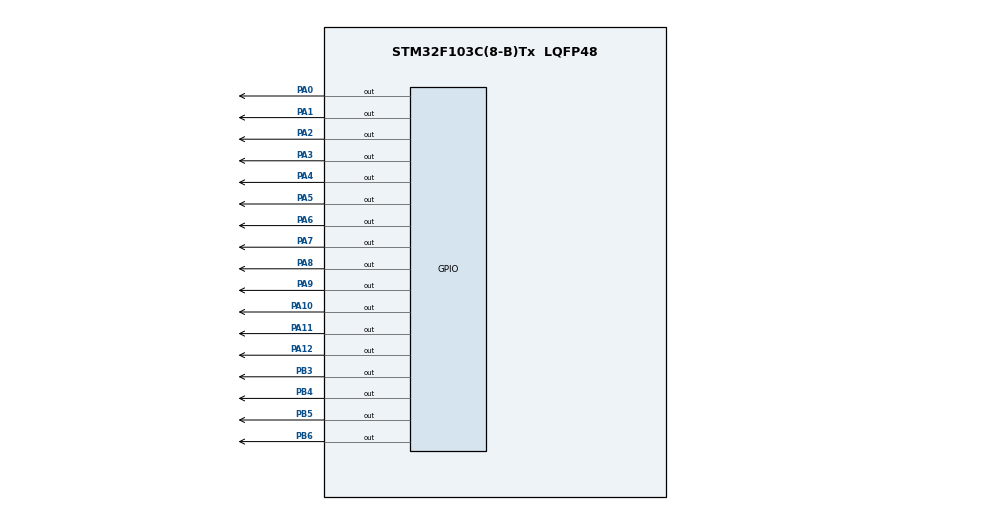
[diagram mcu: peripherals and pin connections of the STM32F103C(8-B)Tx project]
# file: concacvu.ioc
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Mcu.Family=STM32F1
Mcu.Name=STM32F103C(8-B)Tx
Mcu.Package=LQFP48
NVIC.PriorityGroup=NVIC_PRIORITYGROUP_4
PA0-WKUP.Signal=GPIO_Output
PA1.Signal=GPIO_Output
PA10.Signal=GPIO_Output
PA11.Signal=GPIO_Output
PA12.Signal=GPIO_Output
PA13.Mode=Serial_Wire
PA13.Signal=SYS_JTMS-SWDIO
PA14.Mode=Serial_Wire
PA14.Signal=SYS_JTCK-SWCLK
PA2.Signal=GPIO_Output
PA3.Signal=GPIO_Output
PA4.Signal=GPIO_Output
PA5.Signal=GPIO_Output
PA6.Signal=GPIO_Output
PA7.Signal=GPIO_Output
PA8.Signal=GPIO_Output
PA9.Signal=GPIO_Output
PB3.Signal=GPIO_Output
PB4.Signal=GPIO_Output
PB5.Signal=GPIO_Output
PB6.Signal=GPIO_Output
PC14-OSC32_IN.Mode=LSE-External-Oscillator
PC14-OSC32_IN.Signal=RCC_OSC32_IN
PC15-OSC32_OUT.Mode=LSE-External-Oscillator
PC15-OSC32_OUT.Signal=RCC_OSC32_OUT
PD0-OSC_IN.Mode=HSE-External-Oscillator
PD0-OSC_IN.Signal=RCC_OSC_IN
PD1-OSC_OUT.Mode=HSE-External-Oscillator
PD1-OSC_OUT.Signal=RCC_OSC_OUT
ProjectManager.HeapSize=0x200
ProjectManager.StackSize=0x400
ProjectManager.TargetToolchain=STM32CubeIDE
RCC.APB1Freq_Value=8000000
RCC.APB2Freq_Value=8000000
board=custom

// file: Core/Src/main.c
/* USER CODE BEGIN Header */
/**
  ******************************************************************************
  * @file           : main.c
  * @brief          : Main program body
  ******************************************************************************
  * @attention
  *
  * Copyright (c) 2024 STMicroelectronics.
  * All rights reserved.
  *
  * This software is licensed under terms that can be found in the LICENSE file
  * in the root directory of this software component.
  * If no LICENSE file comes with this software, it is provided AS-IS.
  *
  ******************************************************************************
  */
/* USER CODE END Header */
#include "main.h"

void SystemClock_Config(void);
static void MX_GPIO_Init(void);

/* USER CODE BEGIN 0 */
enum ledColor {
	GREEN,
	YELLOW,
	RED
};
/* USER CODE END 0 */

int main(void)
{

  /* MCU Configuration--------------------------------------------------------*/

  /* Reset of all peripherals, Initializes the Flash interface and the Systick. */
  HAL_Init();

  /* Configure the system clock */
  SystemClock_Config();

  /* Initialize all configured peripherals */
  MX_GPIO_Init();
  /* USER CODE BEGIN 2 */
  void display7SEG(int num) {
   switch (num) {
  	case 0:
  	HAL_GPIO_WritePin(GPIOA, GPIO_PIN_0, 0);
  	HAL_GPIO_WritePin(GPIOA, GPIO_PIN_1, 0);
  	HAL_GPIO_WritePin(GPIOA, GPIO_PIN_2, 0);
  	HAL_GPIO_WritePin(GPIOA, GPIO_PIN_3, 0);
  	HAL_GPIO_WritePin(GPIOA, GPIO_PIN_4, 0);
  	HAL_GPIO_WritePin(GPIOA, GPIO_PIN_5, 0);
  	HAL_GPIO_WritePin(GPIOA, GPIO_PIN_6, 1);
  	break;
  	case 1:
  	HAL_GPIO_WritePin(GPIOA, GPIO_PIN_0, 1);
  	HAL_GPIO_WritePin(GPIOA, GPIO_PIN_1, 0);
    HAL_GPIO_WritePin(GPIOA, GPIO_PIN_2, 0);
  	HAL_GPIO_WritePin(GPIOA, GPIO_PIN_3, 1);
  	HAL_GPIO_WritePin(GPIOA, GPIO_PIN_4, 1);
  	HAL_GPIO_WritePin(GPIOA, GPIO_PIN_5, 1);
  	HAL_GPIO_WritePin(GPIOA, GPIO_PIN_6, 1);
  	break;
  	case 2:
  	HAL_GPIO_WritePin(GPIOA, GPIO_PIN_0, 0);
  	HAL_GPIO_WritePin(GPIOA, GPIO_PIN_1, 0);
  	HAL_GPIO_WritePin(GPIOA, GPIO_PIN_2, 1);
  	HAL_GPIO_WritePin(GPIOA, GPIO_PIN_3, 0);
  	HAL_GPIO_WritePin(GPIOA, GPIO_PIN_4, 0);
  	HAL_GPIO_WritePin(GPIOA, GPIO_PIN_5, 1);
  	HAL_GPIO_WritePin(GPIOA, GPIO_PIN_6, 0);
  	break;
  	case 3:
  	HAL_GPIO_WritePin(GPIOA, GPIO_PIN_0, 0);
  	HAL_GPIO_WritePin(GPIOA, GPIO_PIN_1, 0);
  	HAL_GPIO_WritePin(GPIOA, GPIO_PIN_2, 0);
  	HAL_GPIO_WritePin(GPIOA, GPIO_PIN_3, 0);
  	HAL_GPIO_WritePin(GPIOA, GPIO_PIN_4, 1);
  	HAL_GPIO_WritePin(GPIOA, GPIO_PIN_5, 1);
  	HAL_GPIO_WritePin(GPIOA, GPIO_PIN_6, 0);
  	break;
  	case 4:
  	HAL_GPIO_WritePin(GPIOA, GPIO_PIN_0, 1);
  	HAL_GPIO_WritePin(GPIOA, GPIO_PIN_1, 0);
  	HAL_GPIO_WritePin(GPIOA, GPIO_PIN_2, 0);
  	HAL_GPIO_WritePin(GPIOA, GPIO_PIN_3, 1);
  	HAL_GPIO_WritePin(GPIOA, GPIO_PIN_4, 1);
  	HAL_GPIO_WritePin(GPIOA, GPIO_PIN_5, 0);
  	HAL_GPIO_WritePin(GPIOA, GPIO_PIN_6, 0);
  	break;
  	case 5:
  	HAL_GPIO_WritePin(GPIOA, GPIO_PIN_0, 0);
  	HAL_GPIO_WritePin(GPIOA, GPIO_PIN_1, 1);
  	HAL_GPIO_WritePin(GPIOA, GPIO_PIN_2, 0);
  	HAL_GPIO_WritePin(GPIOA, GPIO_PIN_3, 0);
  	HAL_GPIO_WritePin(GPIOA, GPIO_PIN_4, 1);
  	HAL_GPIO_WritePin(GPIOA, GPIO_PIN_5, 0);
  	HAL_GPIO_WritePin(GPIOA, GPIO_PIN_6, 0);
  	break;
  	case 6:
  	HAL_GPIO_WritePin(GPIOA, GPIO_PIN_0, 0);
  	HAL_GPIO_WritePin(GPIOA, GPIO_PIN_1, 1);
  	HAL_GPIO_WritePin(GPIOA, GPIO_PIN_2, 0);
  	HAL_GPIO_WritePin(GPIOA, GPIO_PIN_3, 0);
  	HAL_GPIO_WritePin(GPIOA, GPIO_PIN_4, 0);
  	HAL_GPIO_WritePin(GPIOA, GPIO_PIN_5, 0);
  	HAL_GPIO_WritePin(GPIOA, GPIO_PIN_6, 0);
  	break;
  	case 7:
  	HAL_GPIO_WritePin(GPIOA, GPIO_PIN_0, 0);
  	HAL_GPIO_WritePin(GPIOA, GPIO_PIN_1, 0);
  	HAL_GPIO_WritePin(GPIOA, GPIO_PIN_2, 0);
  	HAL_GPIO_WritePin(GPIOA, GPIO_PIN_3, 1);
  	HAL_GPIO_WritePin(GPIOA, GPIO_PIN_4, 1);
  	HAL_GPIO_WritePin(GPIOA, GPIO_PIN_5, 1);
  	HAL_GPIO_WritePin(GPIOA, GPIO_PIN_6, 1);
  	break;
  	case 8:
  	HAL_GPIO_WritePin(GPIOA, GPIO_PIN_0, 0);
  	HAL_GPIO_WritePin(GPIOA, GPIO_PIN_1, 0);
  	HAL_GPIO_WritePin(GPIOA, GPIO_PIN_2, 0);
  	HAL_GPIO_WritePin(GPIOA, GPIO_PIN_3, 0);
  	HAL_GPIO_WritePin(GPIOA, GPIO_PIN_4, 0);
  	HAL_GPIO_WritePin(GPIOA, GPIO_PIN_5, 0);
  	HAL_GPIO_WritePin(GPIOA, GPIO_PIN_6, 0);
  	break;
  	default:
  	HAL_GPIO_WritePin(GPIOA, GPIO_PIN_0, 0);
  	HAL_GPIO_WritePin(GPIOA, GPIO_PIN_1, 0);
  	HAL_GPIO_WritePin(GPIOA, GPIO_PIN_2, 0);
  	HAL_GPIO_WritePin(GPIOA, GPIO_PIN_3, 0);
  	HAL_GPIO_WritePin(GPIOA, GPIO_PIN_4, 1);
  	HAL_GPIO_WritePin(GPIOA, GPIO_PIN_5, 0);
  	HAL_GPIO_WritePin(GPIOA, GPIO_PIN_6, 0);
  	break;
}}

  int c_1s = 100;

  int c_Red1 = 15;
  int c_Green1 = 11;
  int c_Yellow1 = 4;
  enum ledColor cur_color1 = GREEN;

  int c_Red2 = 15;
  int c_Green2 = 11;
  int c_Yellow2 = 4;
  enum ledColor cur_color2 = RED;

  int counter1 = 10;
  int counter2 = 14;

  int sw_led = 0;

  HAL_GPIO_WritePin(GPIOA, GPIO_PIN_7, 0);
  HAL_GPIO_WritePin(GPIOA, GPIO_PIN_9, 1);
  HAL_GPIO_WritePin(GPIOA, GPIO_PIN_8, 0);

  HAL_GPIO_WritePin(GPIOA, GPIO_PIN_10, 1);
  HAL_GPIO_WritePin(GPIOA, GPIO_PIN_12, 0);
  HAL_GPIO_WritePin(GPIOA, GPIO_PIN_11, 0);
  /* USER CODE END 2 */

  /* Infinite loop */
  while (1)
  {
	   if (c_Green1 <= 0) {
		HAL_GPIO_WritePin(GPIOA, GPIO_PIN_7, 0);
		HAL_GPIO_WritePin(GPIOA, GPIO_PIN_9, 0);
	    HAL_GPIO_WritePin(GPIOA, GPIO_PIN_8, 1);
		c_Green1 = 11;
		cur_color1 = YELLOW;
		counter1 = 3; }

	   if (c_Yellow1 <= 0) {
		HAL_GPIO_WritePin(GPIOA, GPIO_PIN_7, 1);
		HAL_GPIO_WritePin(GPIOA, GPIO_PIN_9, 0);
		HAL_GPIO_WritePin(GPIOA, GPIO_PIN_8, 0);
		c_Yellow1 = 4;
		cur_color1 = RED;
		counter1 = 14; }

	   if (c_Red1 <= 0) {
		HAL_GPIO_WritePin(GPIOA, GPIO_PIN_7, 0);
		HAL_GPIO_WritePin(GPIOA, GPIO_PIN_9, 1);
		HAL_GPIO_WritePin(GPIOA, GPIO_PIN_8, 0);
		c_Red1 = 15;
		cur_color1 = GREEN;
		counter1 = 10; }

	   if (c_Green2 <= 0) {
		HAL_GPIO_WritePin(GPIOA, GPIO_PIN_10, 0);
		HAL_GPIO_WritePin(GPIOA, GPIO_PIN_12, 0);
		HAL_GPIO_WritePin(GPIOA, GPIO_PIN_11, 1);
		c_Green2 = 11;
		cur_color2 = YELLOW;
		counter2 = 3; }

	   if (c_Yellow2 <= 0) {
		HAL_GPIO_WritePin(GPIOA, GPIO_PIN_10, 1);
	    HAL_GPIO_WritePin(GPIOA, GPIO_PIN_12, 0);
		HAL_GPIO_WritePin(GPIOA, GPIO_PIN_11, 0);
		c_Yellow2 = 4;
		cur_color2 = RED;
		counter2 = 14; }

	   if (c_Red2 <= 0) {
		HAL_GPIO_WritePin(GPIOA, GPIO_PIN_10, 0);
		HAL_GPIO_WritePin(GPIOA, GPIO_PIN_12, 1);
		HAL_GPIO_WritePin(GPIOA, GPIO_PIN_11, 0);
		c_Red2 = 15;
		cur_color2 = GREEN;
		counter2 = 10; }

	   if (c_1s <= 0) {
		switch (cur_color1) {
		 case GREEN:
		 c_Green1--;
		 break;

		 case YELLOW:
		 c_Yellow1--;
		 break;

		 case RED:
		 c_Red1--;
		 break; }

		switch (cur_color2) {
		 case GREEN:
		 c_Green2--;
		 break;

		 case YELLOW:
		 c_Yellow2--;
		 break;

		 case RED:
		 c_Red2--;
		 break; }
		 counter1--;
		 counter2--;
		 c_1s = 100; }

		switch (sw_led) {
		 case 0:
		 HAL_GPIO_WritePin(GPIOB, GPIO_PIN_6, 0);
		 HAL_GPIO_WritePin(GPIOB, GPIO_PIN_3, 1);
		 display7SEG(counter1 / 10);
		 sw_led = 1;
		 break;

		 case 1:
		 HAL_GPIO_WritePin(GPIOB, GPIO_PIN_3, 0);
		 HAL_GPIO_WritePin(GPIOB, GPIO_PIN_4, 1);
		 display7SEG(counter1 % 10);
		 sw_led = 2;
		 break;

		 case 2:
		 HAL_GPIO_WritePin(GPIOB, GPIO_PIN_4, 0);
		 HAL_GPIO_WritePin(GPIOB, GPIO_PIN_5, 1);
		 display7SEG(counter2 / 10);
		 sw_led = 3;
		 break;

		 case 3:
		 HAL_GPIO_WritePin(GPIOB, GPIO_PIN_5, 0);
		 HAL_GPIO_WritePin(GPIOB, GPIO_PIN_6, 1);
		 display7SEG(counter2 % 10);
		 sw_led = 0;
		 break; }
		 c_1s--;
		 HAL_Delay(5);
  }
}

void SystemClock_Config(void)
{
  RCC_OscInitTypeDef RCC_OscInitStruct = {0};
  RCC_ClkInitTypeDef RCC_ClkInitStruct = {0};

  /** Initializes the RCC Oscillators according to the specified parameters
  * in the RCC_OscInitTypeDef structure.
  */
  RCC_OscInitStruct.OscillatorType = RCC_OSCILLATORTYPE_HSI;
  RCC_OscInitStruct.HSIState = RCC_HSI_ON;
  RCC_OscInitStruct.HSICalibrationValue = RCC_HSICALIBRATION_DEFAULT;
  RCC_OscInitStruct.PLL.PLLState = RCC_PLL_NONE;
  if (HAL_RCC_OscConfig(&RCC_OscInitStruct) != HAL_OK)
  {
    Error_Handler();
  }

  /** Initializes the CPU, AHB and APB buses clocks
  */
  RCC_ClkInitStruct.ClockType = RCC_CLOCKTYPE_HCLK|RCC_CLOCKTYPE_SYSCLK
                              |RCC_CLOCKTYPE_PCLK1|RCC_CLOCKTYPE_PCLK2;
  RCC_ClkInitStruct.SYSCLKSource = RCC_SYSCLKSOURCE_HSI;
  RCC_ClkInitStruct.AHBCLKDivider = RCC_SYSCLK_DIV1;
  RCC_ClkInitStruct.APB1CLKDivider = RCC_HCLK_DIV1;
  RCC_ClkInitStruct.APB2CLKDivider = RCC_HCLK_DIV1;

  if (HAL_RCC_ClockConfig(&RCC_ClkInitStruct, FLASH_LATENCY_0) != HAL_OK)
  {
    Error_Handler();
  }
}

static void MX_GPIO_Init(void)
{
  GPIO_InitTypeDef GPIO_InitStruct = {0};

  /* GPIO Ports Clock Enable */
  __HAL_RCC_GPIOC_CLK_ENABLE();
  __HAL_RCC_GPIOD_CLK_ENABLE();
  __HAL_RCC_GPIOA_CLK_ENABLE();
  __HAL_RCC_GPIOB_CLK_ENABLE();

  /*Configure GPIO pin Output Level */
  HAL_GPIO_WritePin(GPIOA, GPIO_PIN_0|GPIO_PIN_1|GPIO_PIN_2|GPIO_PIN_3
                          |GPIO_PIN_4|GPIO_PIN_5|GPIO_PIN_6|GPIO_PIN_7
                          |GPIO_PIN_8|GPIO_PIN_9|GPIO_PIN_10|GPIO_PIN_11
                          |GPIO_PIN_12, GPIO_PIN_RESET);

  /*Configure GPIO pin Output Level */
  HAL_GPIO_WritePin(GPIOB, GPIO_PIN_3|GPIO_PIN_4|GPIO_PIN_5|GPIO_PIN_6, GPIO_PIN_RESET);

  /*Configure GPIO pins : PA0 PA1 PA2 PA3
                           PA4 PA5 PA6 PA7
                           PA8 PA9 PA10 PA11
                           PA12 */
  GPIO_InitStruct.Pin = GPIO_PIN_0|GPIO_PIN_1|GPIO_PIN_2|GPIO_PIN_3
                          |GPIO_PIN_4|GPIO_PIN_5|GPIO_PIN_6|GPIO_PIN_7
                          |GPIO_PIN_8|GPIO_PIN_9|GPIO_PIN_10|GPIO_PIN_11
                          |GPIO_PIN_12;
  GPIO_InitStruct.Mode = GPIO_MODE_OUTPUT_PP;
  GPIO_InitStruct.Pull = GPIO_NOPULL;
  GPIO_InitStruct.Speed = GPIO_SPEED_FREQ_LOW;
  HAL_GPIO_Init(GPIOA, &GPIO_InitStruct);

  /*Configure GPIO pins : PB3 PB4 PB5 PB6 */
  GPIO_InitStruct.Pin = GPIO_PIN_3|GPIO_PIN_4|GPIO_PIN_5|GPIO_PIN_6;
  GPIO_InitStruct.Mode = GPIO_MODE_OUTPUT_PP;
  GPIO_InitStruct.Pull = GPIO_NOPULL;
  GPIO_InitStruct.Speed = GPIO_SPEED_FREQ_LOW;
  HAL_GPIO_Init(GPIOB, &GPIO_InitStruct);

}

void Error_Handler(void)
{
  __disable_irq();
  while (1)
  {
  }
}
